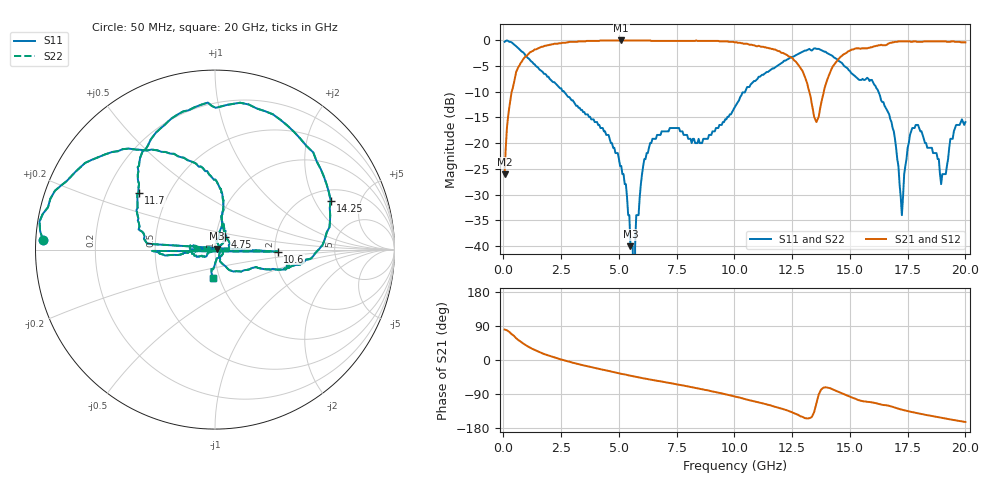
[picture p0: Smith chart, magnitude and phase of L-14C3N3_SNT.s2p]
#	mhz	s	ma	r	50
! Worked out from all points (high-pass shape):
!   400 points, 50 MHz to 20 GHz, reference 50 ohm
!   highest |S21| = -0.09 dB at 5.1 GHz (marker M1); lowest = -26.0 dB at 50 MHz (marker M2)
!   |S21| within 3 dB of the highest: 1.002 GHz to 12.32 GHz (11.32 GHz wide, 170 % of centre); 14.65 GHz to end of sweep
!   lowest |S11| = -40.0 dB at 5.5 GHz (marker M3), VSWR 1.02, Z = 50.9 + j0.443 ohm
!   |S11| at or under -10 dB: 2.619 GHz to 10.47 GHz (7.847 GHz wide, 120 % of centre); 16.23 GHz to end of sweep
!   |S22| runs from - to -0.1 dB; largest |S21 - S12| = 0
!   S11 on the Smith chart (normalised r, x): 50 MHz: 0.02, +0.03; 4.75 GHz: 1.10, +0.16; 10.6 GHz: 2.08, -0.05; 11.7 GHz: 0.34, +0.30; 14.25 GHz: 2.53, +2.72; 20 GHz: 0.93, -0.30
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50  0.96 176.8  0.05 80.4  0.05 80.4  0.96 176.8
650  0.83 141.7  0.55 52.4  0.55 52.4  0.83 141.7
3400  0.21 78.5  0.97 -13.3  0.97 -13.3  0.21 78.5
4750  0.09 53.3  0.99 -31.8  0.99 -31.8  0.09 53.3
5100  0.06 39.5  0.99 -36.4  0.99 -36.4  0.06 39.5
5500  0.01 25.8  0.99 -41.5  0.99 -41.5  0.01 25.8
5600  0.01 -38.3  0.99 -42.7  0.99 -42.7  0.01 -38.3
5650  0 -105.4  0.99 -43.4  0.99 -43.4  0 -105.4
5700  0.01 -130.8  0.99 -43.9  0.99 -43.9  0.01 -130.8
5750  0.02 -156.3  0.99 -44.5  0.99 -44.5  0.02 -156.3
6700  0.12 -164.9  0.98 -55.3  0.98 -55.3  0.12 -164.9
10050  0.23 -172.6  0.95 -96.8  0.95 -96.8  0.23 -172.6
10550  0.35 -178.8  0.92 -104.7  0.92 -104.7  0.35 -178.8
10600  0.35 -1.9  0.91 -105.4  0.91 -105.4  0.35 -1.9
10650  0.35 175.0  0.9 -106.0  0.9 -106.0  0.35 175.0
11700  0.53 143.5  0.81 -122.4  0.81 -122.4  0.53 143.5
13350  0.79 89.7  0.24 -150.5  0.24 -150.5  0.79 89.7
14250  0.7 23.0  0.55 -77.3  0.55 -77.3  0.7 23.0
16700  0.19 -40.0  0.93 -121.0  0.93 -121.0  0.19 -40.0
17250  0.02 11.6  0.97 -130.9  0.97 -130.9  0.02 11.6
17700  0.14 73.7  0.96 -137.5  0.96 -137.5  0.14 73.7
20000  0.16 -94.0  0.95 -163.4  0.95 -163.4  0.16 -94.0
